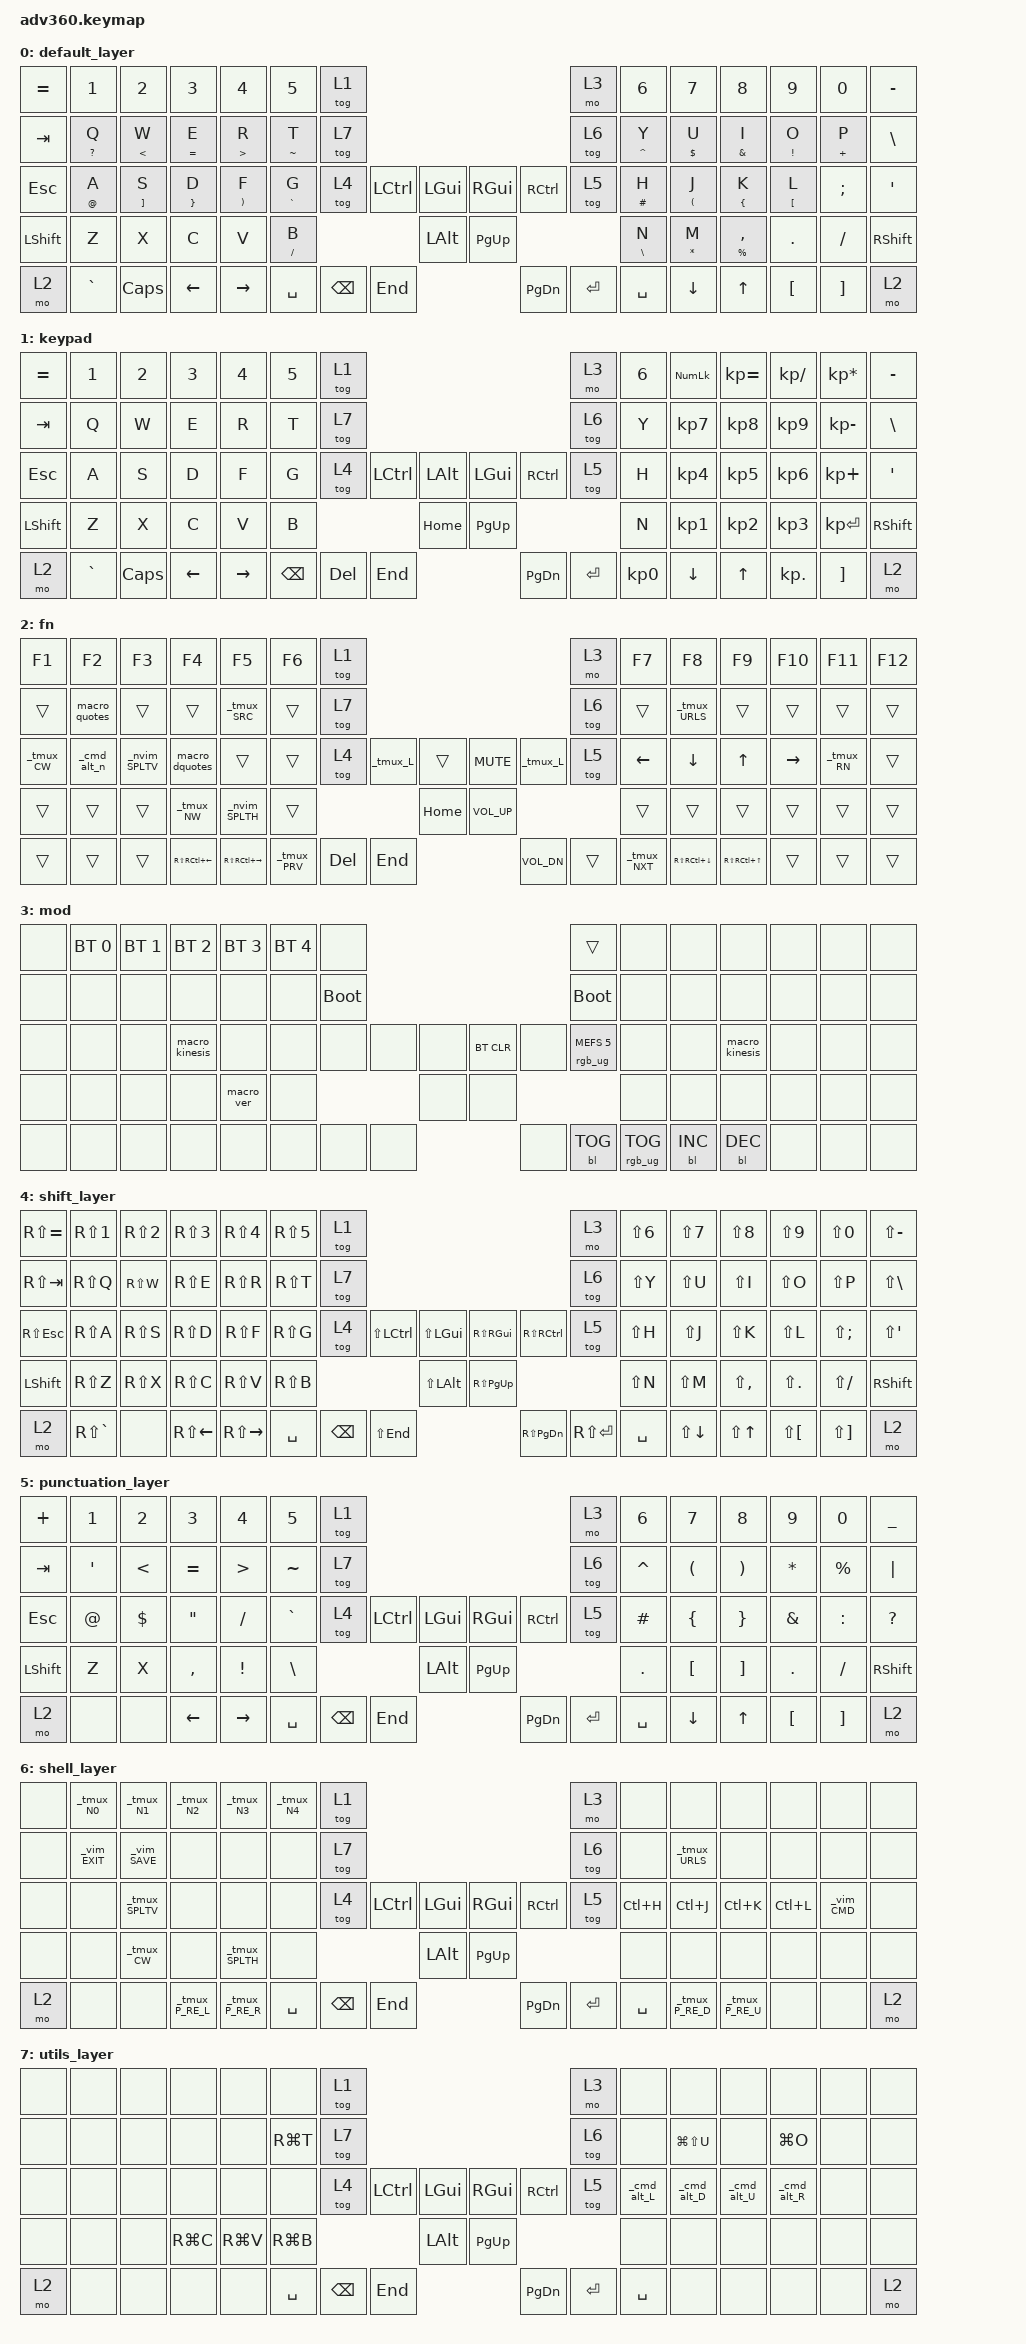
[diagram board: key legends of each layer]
#include <behaviors.dtsi>
#include <dt-bindings/zmk/keys.h>
#include <dt-bindings/zmk/bt.h>
#include <dt-bindings/zmk/rgb.h>
#include <dt-bindings/zmk/backlight.h>

/ {
    behaviors {
      #include "macros.dtsi"
      #include "version.dtsi"
      #ifndef VERSION_MACRO
      macro_ver: macro_ver {
        compatible = "zmk,behavior-macro";
        #binding-cells = <0>;
        bindings = <&kp RET>;
      };
      #endif

      // hold will apply the first argument
      // tap will apply the second argument
      hm: homerow_mods {
          compatible = "zmk,behavior-hold-tap";
          #binding-cells = <2>;
          tapping-term-ms = <175>;
          flavor = "tap-preferred";
          bindings = <&kp>, <&kp>;
      };
    };

  keymap {
    compatible = "zmk,keymap";

    default_layer {
      bindings = <
        &kp EQUAL &kp N1      &kp N2     &kp N3      &kp N4     &kp N5      &tog 1                                                           &mo 3  &kp N6      &kp N7     &kp N8          &kp N9     &kp N0     &kp MINUS
        &kp TAB   &hm QMARK Q &hm LT W   &hm EQUAL E &hm GT R   &hm TILDE T &tog 7                                                           &tog 6 &hm CARET Y &hm DLLR U &hm AMPS I      &hm EXCL O &hm PLUS P &kp BSLH
        &kp ESC   &hm AT A    &hm RBKT S &hm RBRC D  &hm RPAR F &hm GRAVE G &tog 4          &kp LCTRL &kp LGUI &kp RGUI  &kp RCTRL           &tog 5 &hm HASH H  &hm LPAR J &hm LBRC K      &hm LBKT L &kp SEMI   &kp SQT
        &kp LSHFT &kp Z       &kp X      &kp C       &kp V      &hm FSLH B                            &kp LALT &kp PG_UP                            &hm BSLH N  &hm STAR M &hm PRCNT COMMA &kp DOT    &kp FSLH   &kp RSHFT
        &mo 2     &kp GRAVE   &kp CAPS   &kp LEFT    &kp RIGHT                     &kp SPACE &kp BSPC &kp END  &kp PG_DN &kp ENTER &kp SPACE                    &kp DOWN   &kp UP          &kp LBKT   &kp RBKT   &mo 2
      >;
    };
    keypad {
      bindings = <
        &kp EQUAL &kp N1    &kp N2   &kp N3   &kp N4     &kp N5 &tog 1                                                           &mo 3  &kp N6 &kp KP_NUM &kp KP_EQUAL &kp KP_DIVIDE &kp KP_MULTIPLY &kp MINUS
        &kp TAB   &kp Q     &kp W    &kp E    &kp R      &kp T  &tog 7                                                           &tog 6 &kp Y  &kp KP_N7  &kp KP_N8    &kp KP_N9     &kp KP_MINUS    &kp BSLH
        &kp ESC   &kp A     &kp S    &kp D    &kp F      &kp G  &tog 4          &kp LCTRL &kp LALT &kp LGUI  &kp RCTRL           &tog 5 &kp H  &kp KP_N4  &kp KP_N5    &kp KP_N6     &kp KP_PLUS     &kp SQT
        &kp LSHFT &kp Z     &kp X    &kp C    &kp V      &kp B                            &kp HOME &kp PG_UP                            &kp N  &kp KP_N1  &kp KP_N2    &kp KP_N3     &kp KP_ENTER    &kp RSHFT
        &mo 2     &kp GRAVE &kp CAPS &kp LEFT &kp RIGHT                &kp BSPC &kp DEL   &kp END  &kp PG_DN &kp ENTER &kp KP_N0               &kp DOWN   &kp UP       &kp KP_DOT    &kp RBKT        &mo 2
      >;
    };
    fn {
      bindings = <
        &kp F1    &kp F2        &kp F3       &kp F4           &kp F5            &kp F6 &tog 1                                                         &mo 3  &kp F7   &kp F8           &kp F9         &kp F10   &kp F11   &kp F12 
        &trans    &macro_quotes &trans       &trans           &_tmux_SRC        &trans &tog 7                                                         &tog 6 &trans   &_tmux_URLS      &trans         &trans    &trans    &trans
        &_tmux_CW &_cmd_alt_n   &_nvim_SPLTV &macro_dquotes   &trans            &trans &tog 4      &_tmux_L     &trans   &kp C_MUTE   &_tmux_L        &tog 5 &kp LEFT &kp DOWN         &kp UP         &kp RIGHT &_tmux_RN &trans
        &trans    &trans        &trans       &_tmux_NW        &_nvim_SPLTH      &trans                          &kp HOME &kp C_VOL_UP                        &trans   &trans           &trans         &trans    &trans    &trans
        &trans    &trans        &trans       &kp RS(RC(LEFT)) &kp RS(RC(RIGHT))              &_tmux_PRV &kp DEL &kp END  &kp C_VOL_DN &trans &_tmux_NXT               &kp RS(RC(DOWN)) &kp RS(RC(UP)) &trans    &trans    &trans
      >;
    };
    mod {
      bindings = <
        &none &bt BT_SEL 0 &bt BT_SEL 1 &bt BT_SEL 2   &bt BT_SEL 3 &bt BT_SEL 4 &none                                                                     &trans                 &none &none        &none           &none &none &none
        &none &none        &none        &none          &none        &none        &bootloader                                                               &bootloader            &none &none        &none           &none &none &none
        &none &none        &none        &macro_kinesis &none        &none        &none                   &none &none &bt BT_CLR &none                      &rgb_ug RGB_MEFS_CMD 5 &none &none        &macro_kinesis  &none &none &none
        &none &none        &none        &none          &macro_ver   &none                                      &none &none                                                        &none &none        &none           &none &none &none
        &none &none        &none        &none          &none                                       &none &none &none &none      &bl BL_TOG &rgb_ug RGB_TOG                              &bl BL_INC   &bl BL_DEC      &none &none &none
      >;
    };
    shift_layer {
      bindings = <
        &kp RS(EQUAL) &kp RS(N1)    &kp RS(N2) &kp RS(N3)   &kp RS(N4)     &kp RS(N5) &tog 1                                                              &mo 3  &kp LS(N6) &kp LS(N7)   &kp LS(N8)    &kp LS(N9)   &kp LS(N0)   &kp LS(MINUS)
        &kp RS(TAB)   &kp RS(Q)     &kp RS(W)  &kp RS(E)    &kp RS(R)      &kp RS(T)  &tog 7                                                              &tog 6 &kp LS(Y)  &kp LS(U)    &kp LS(I)     &kp LS(O)    &kp LS(P)    &kp LS(BSLH)
        &kp RS(ESC)   &kp RS(A)     &kp RS(S)  &kp RS(D)    &kp RS(F)      &kp RS(G)  &tog 4   &kp LS(LCTRL) &kp LS(LGUI) &kp RS(RGUI)  &kp RS(RCTRL)     &tog 5 &kp LS(H)  &kp LS(J)    &kp LS(K)     &kp LS(L)    &kp LS(SEMI) &kp LS(SQT)
        &kp LSHFT     &kp RS(Z)     &kp RS(X)  &kp RS(C)    &kp RS(V)      &kp RS(B)                         &kp LS(LALT) &kp RS(PG_UP)                          &kp LS(N)  &kp LS(M)    &kp LS(COMMA) &kp LS(DOT)  &kp LS(FSLH) &kp RSHFT
        &mo 2         &kp RS(GRAVE) &none      &kp RS(LEFT) &kp RS(RIGHT)                 &kp SPACE &kp BSPC &kp LS(END)  &kp RS(PG_DN) &kp RS(ENTER) &kp SPACE             &kp LS(DOWN) &kp LS(UP)    &kp LS(LBKT) &kp LS(RBKT) &mo 2
      >;
    };
    punctuation_layer {
      bindings = <
        &kp PLUS  &kp N1   &kp N2   &kp N3    &kp N4     &kp N5    &tog 1                                                           &mo 3  &kp N6    &kp N7   &kp N8   &kp N9   &kp N0    &kp UNDER
        &kp TAB   &kp SQT  &kp LT   &kp EQUAL &kp GT     &kp TILDE &tog 7                                                           &tog 6 &kp CARET &kp LPAR &kp RPAR &kp STAR &kp PRCNT &kp PIPE
        &kp ESC   &kp AT   &kp DLLR &kp DQT   &kp FSLH   &kp GRAVE &tog 4          &kp LCTRL &kp LGUI &kp RGUI  &kp RCTRL           &tog 5 &kp HASH  &kp LBRC &kp RBRC &kp AMPS &kp COLON &kp QMARK
        &kp LSHFT &kp Z    &kp X    &kp COMMA &kp EXCL   &kp BSLH                            &kp LALT &kp PG_UP                            &kp DOT   &kp LBKT &kp RBKT &kp DOT  &kp FSLH  &kp RSHFT
        &mo 2     &none    &none    &kp LEFT  &kp RIGHT                   &kp SPACE &kp BSPC &kp END  &kp PG_DN &kp ENTER &kp SPACE                  &kp DOWN &kp UP   &kp LBKT &kp RBKT  &mo 2
      >;
    };
    shell_layer {
      bindings = <
        &none &_tmux_N0  &_tmux_N1    &_tmux_N2     &_tmux_N3     &_tmux_N4 &tog 1                                                            &mo 3  &none     &none         &none         &none     &none     &none
        &none &_vim_EXIT &_vim_SAVE   &none         &none         &none     &tog 7                                                            &tog 6 &none     &_tmux_URLS   &none         &none     &none     &none
        &none &none      &_tmux_SPLTV &none         &none         &none     &tog 4           &kp LCTRL &kp LGUI &kp RGUI  &kp RCTRL           &tog 5 &kp LC(H) &kp LC(J)     &kp LC(K)     &kp LC(L) &_vim_CMD &none
        &none &none      &_tmux_CW    &none         &_tmux_SPLTH  &none                                &kp LALT &kp PG_UP                            &none     &none         &none         &none     &none     &none
        &mo 2 &none      &none        &_tmux_P_RE_L &_tmux_P_RE_R                   &kp SPACE &kp BSPC &kp END  &kp PG_DN &kp ENTER &kp SPACE                  &_tmux_P_RE_D &_tmux_P_RE_U &none     &none     &mo 2
      >;
    };
    utils_layer {
      bindings = <
        &none &none &none &none     &none     &none     &tog 1                                                            &mo 3  &none       &none         &none       &none       &none &none
        &none &none &none &none     &none     &kp RG(T) &tog 7                                                            &tog 6 &none       &kp LG(LS(U)) &none       &kp LG(O)   &none &none
        &none &none &none &none     &none     &none     &tog 4           &kp LCTRL &kp LGUI &kp RGUI  &kp RCTRL           &tog 5 &_cmd_alt_L &_cmd_alt_D   &_cmd_alt_U &_cmd_alt_R &none &none
        &none &none &none &kp RG(C) &kp RG(V) &kp RG(B)                            &kp LALT &kp PG_UP                            &none       &none         &none       &none       &none &none
        &mo 2 &none &none &none     &none                       &kp SPACE &kp BSPC &kp END  &kp PG_DN &kp ENTER &kp SPACE                    &none         &none       &none       &none &mo 2
      >;
    };
  };
};
